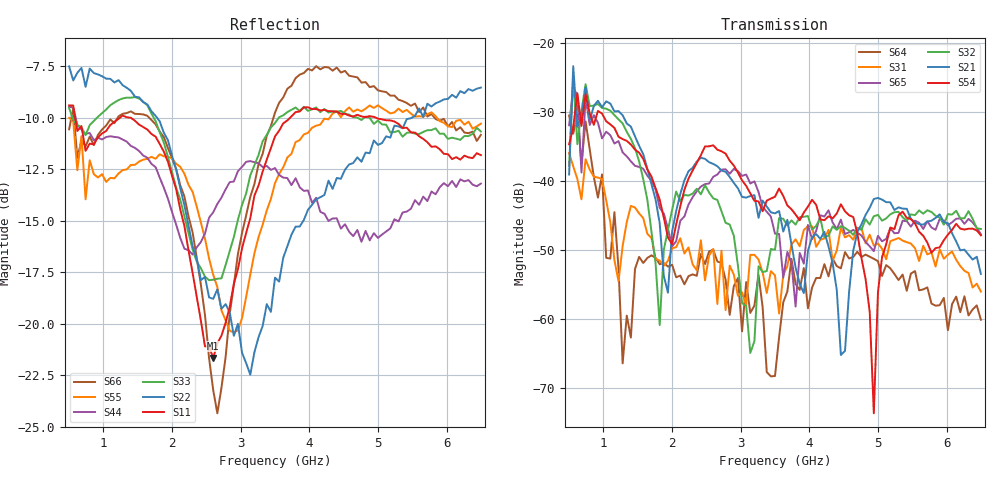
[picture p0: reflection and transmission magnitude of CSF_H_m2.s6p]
!Keysight Technologies,M9804A,MY58100912,A.14.10.03
!Date: Thursday, April 27, 2023 10:28:33
!Correction: S11(C  6-Port  )
!S12(C  6-Port  )
!S13(C  6-Port  )
!S14(C  6-Port  )
!S15(C  6-Port  )
!S16(C  6-Port  )
!S21(C  6-Port  )
!S22(C  6-Port  )
!S23(C  6-Port  )
!S24(C  6-Port  )
!S25(C  6-Port  )
!S26(C  6-Port  )
!S31(C  6-Port  )
!S32(C  6-Port  )
!S33(C  6-Port  )
!S34(C  6-Port  )
!S35(C  6-Port  )
!S36(C  6-Port  )
!S41(C  6-Port  )
!S42(C  6-Port  )
!S43(C  6-Port  )
!S44(C  6-Port  )
!S45(C  6-Port  )
!S46(C  6-Port  )
!S51(C  6-Port  )
!S52(C  6-Port  )
!S53(C  6-Port  )
!S54(C  6-Port  )
!S55(C  6-Port  )
!S56(C  6-Port  )
!S61(C  6-Port  )
!S62(C  6-Port  )
!S63(C  6-Port  )
!S64(C  6-Port  )
!S65(C  6-Port  )
!S66(C  6-Port  )
!S6P File: Measurement: :
# Hz S  RI  R 50
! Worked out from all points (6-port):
!   101 points, 500 MHz to 6.5 GHz, reference 50 ohm
!   strongest paths, dB at 500 MHz, 2 GHz, 3.5 GHz, 5 GHz, 6.5 GHz:
!     S54: -34.7, -49.2, -42.3, -56.2, -47.9
!     S21: -39.1, -47.4, -44.7, -42.5, -53.5
!     S32: -37.8, -44.2, -50.0, -44.9, -47.0
!     S65: -31.9, -49.5, -47.7, -48.0, -47.7
!     S31: -35.9, -49.8, -53.7, -49.1, -56.1
!     S64: -30.5, -52.2, -68.3, -51.6, -60.2
!   lowest |S11| = -21.7 dB at 2.6 GHz (marker M1), VSWR 1.18, Z = 42.6 + j2.03 ohm
!   |S11| at or under -10 dB: 589.1 MHz to 1.237 GHz (647.9 MHz wide, 71 % of centre); 1.402 GHz to 3.718 GHz (2.316 GHz wide, 90.5 % of centre); 4.974 GHz to end of sweep
